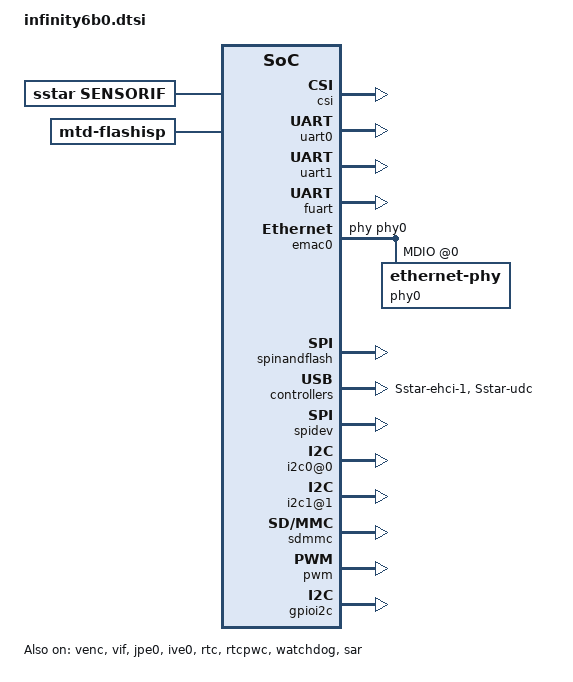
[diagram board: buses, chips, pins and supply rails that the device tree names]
/*
* infinity6b0.dtsi- Sigmastar
*
* Copyright (c) [2019~2020] SigmaStar Technology.
*
*
* This software is licensed under the terms of the GNU General Public
* License version 2, as published by the Free Software Foundation, and
* may be copied, distributed, and modified under those terms.
*
* This program is distributed in the hope that it will be useful,
* but WITHOUT ANY WARRANTY; without even the implied warranty of
* MERCHANTABILITY or FITNESS FOR A PARTICULAR PURPOSE.  See the
* GNU General Public License version 2 for more details.
*
*/

#include <../../../../drivers/sstar/include/infinity6b0/irqs.h>
#include <../../../../drivers/sstar/include/infinity6b0/gpio.h>
#include <dt-bindings/interrupt-controller/irq.h>
#include <dt-bindings/interrupt-controller/arm-gic.h>
#include "skeleton.dtsi"


/ {
    cpus {
        #address-cells = <1>;
        #size-cells = <0>;

        cpu@0 {
            device_type = "cpu";
            compatible = "arm,cortex-a7";
            clocks = <&CLK_cpupll_clk>;
            reg = <0x0>;
            operating-points = <
                /* kHz     uV */
                1200000  1000000
                1100000  1000000
                1000000  1000000
                800000   900000
                600000   900000
                400000   900000
            >;
        };
    };

    aliases {
        console = &uart0;
        serial0 = &uart0;
        serial1 = &uart1;
        serial2 = &fuart;
    };

    soc {
        compatible = "simple-bus";
        interrupt-parent = <&ms_main_intc>;
        #address-cells = <1>;
        #size-cells = <1>;
        ranges;

        gic: gic@16000000 {
            compatible = "arm,cortex-a7-gic";
            #interrupt-cells = <3>;
            #address-cells = <1>;
            #size-cells = <1>;
            interrupt-controller;
            interrupt-parent = <&gic>;
            reg = <0x16001000 0x1000>,
                  <0x16002000 0x1000>;
        };

        ms_main_intc: ms_main_intc {
            compatible = "sstar,main-intc";
            #interrupt-cells = <3>;
            #address-cells = <1>;
            #size-cells = <1>;
            interrupt-parent=<&gic>;
            interrupt-controller;
        };

        ms_pm_intc: ms_pm_intc {
            compatible = "sstar,pm-intc";
            #interrupt-cells = <1>;
            interrupt-parent=<&ms_main_intc>;
            interrupt-controller;
            interrupts = <GIC_SPI INT_IRQ_PM_SLEEP IRQ_TYPE_LEVEL_HIGH>;
        };

        ms_gpi_intc: ms_gpi_intc {
            compatible = "sstar,gpi-intc";
            #interrupt-cells = <1>;
            interrupt-parent=<&ms_main_intc>;
            interrupt-controller;
            interrupts = <GIC_SPI INT_IRQ_GPI_OUT IRQ_TYPE_LEVEL_HIGH>;
        };

        arch_timer {
            compatible = "arm,cortex-a7-timer", "arm,armv7-timer";
            interrupt-parent=<&gic>;
            interrupts = <GIC_PPI 13 (GIC_CPU_MASK_SIMPLE(2) | IRQ_TYPE_LEVEL_LOW)>,
                         <GIC_PPI 14 (GIC_CPU_MASK_SIMPLE(2) | IRQ_TYPE_LEVEL_LOW)>,
                         <GIC_PPI 11 (GIC_CPU_MASK_SIMPLE(2) | IRQ_TYPE_LEVEL_LOW)>,
                         <GIC_PPI 10 (GIC_CPU_MASK_SIMPLE(2) | IRQ_TYPE_LEVEL_LOW)>;
            clock-frequency = <6000000>;
        };

        pmu {
            compatible = "arm,cortex-a7-pmu";
            interrupt-parent=<&gic>;
            interrupts = <GIC_SPI 10 IRQ_TYPE_LEVEL_HIGH>,
                         <GIC_SPI 16 IRQ_TYPE_LEVEL_HIGH>,
                         <GIC_SPI 22 IRQ_TYPE_LEVEL_HIGH>,
                         <GIC_SPI 28 IRQ_TYPE_LEVEL_HIGH>;
        };

        clks: clocks{
            #address-cells = <1>;
            #size-cells = <1>;
            ranges;
        };
/*
        timer_clockevent: timer@1F006040 {
            compatible = "sstar,piu-clockevent";
            reg = <0x1F006040 0x100>;
            interrupts=<GIC_SPI INT_FIQ_TIMER_0 IRQ_TYPE_LEVEL_HIGH>;
            clocks = <&CLK_xtali_12m>;
            status = "ok";
        };
*/
#ifndef __DTS_DUALOS__
        venc {
            compatible = "sstar,venc";
            reg = <0x1F345200 0x800>, <0x1F2C5200 0x100>, <0x1F203C00 0x100>, <0x1F207800 0x100>;
            reg-names = "vpu-bit", "venc-brige", "hw-uart0", "hw-uart1";
            interrupts = <GIC_SPI INT_IRQ_MHE IRQ_TYPE_LEVEL_HIGH>;
            interrupt-parent = <&ms_main_intc>;
            interrupt-names = "mhe-irq";
            clocks = <&CLK_vhe>, <&CLK_vhe_vpu>;
            clock-names = "CKG_venc";
            status = "ok";
        };

        vpe: vpe {
            compatible = "sigmastar,vpe";
            //reg = <0x1F000000 0x100>;
            //clk,chiptop,hvsp0,sc0,dnr,ldc
            clocks = <&CLK_fclk1>,<&CLK_fclk2>,<&CLK_odclk>;
            clock-names = "CLK_fclk1","CLK_fclk2","CLK_odclk";
            status = "ok";
            DigitalZoom-Dropmode = <1>;
            interrupts = <GIC_SPI INT_IRQ_SC_TOP IRQ_TYPE_LEVEL_HIGH>, <GIC_SPI INT_IRQ_SC1_TOP_INT IRQ_TYPE_LEVEL_HIGH>, <GIC_SPI INT_IRQ_SC2_TOP_INT IRQ_TYPE_LEVEL_HIGH>, <GIC_SPI INT_IRQ_CMDQ IRQ_TYPE_LEVEL_HIGH>;
        };

        vip: vip {
            compatible = "sstar,vip";
            status = "ok";
            CMDQ-mode = <1>;
            //reg = <0x1F224000 0x200>;
        };

        pnl: pnl {
            compatible = "sigmastar,pnl";
            status = "ok";
            ttl-mode = <1>;
            jtag-mode = <0>;
            //Reg = <0x1F224000 0x200>;
        };

        disp: disp {
            compatible = "sigmastar,disp";
            status = "ok";
            //Reg = <0x1F224000 0x200>;
            interrupts = <GIC_SPI INT_IRQ_SC_TOP IRQ_TYPE_LEVEL_HIGH>, <GIC_SPI INT_IRQ_SC1_TOP_INT IRQ_TYPE_LEVEL_HIGH>, <GIC_SPI INT_IRQ_SC2_TOP_INT IRQ_TYPE_LEVEL_HIGH>, <GIC_SPI INT_IRQ_CMDQ IRQ_TYPE_LEVEL_HIGH>;
        };
        isp: isp {
            compatible = "isp";
            io_phy_addr = <0x1f000000>;
            banks = <0x1302>;
            interrupts = <GIC_SPI INT_IRQ_ISP IRQ_TYPE_LEVEL_HIGH>;
            clocks = <&CLK_isp>;
            status = "ok";
            clock-frequency-index = <5>;
            //clk-pad = <PAD_SR_IO17>;
            //clk-pad = <PAD_SPI0_CK>; //be compatible with the previous QFN, so it must reserved 4 pins for SPI0 pads
            //isp-flag = <0>;
        };
        csi: csi {
            compatible = "sstar,csi";
            io_phy_addr = <0x1f000000>;
            banks = <0x1202>,<0x1203>,<0x1204>,<0x1038>,<0x101e>;
            interrupts = <GIC_SPI INT_IRQ_MIPI_CSI2 IRQ_TYPE_LEVEL_HIGH>;
            status = "ok";
        };

        vif: vif {
            compatible = "sstar,vif";
            status = "ok";
            reg = <0x1F260800 0x600>, <0x0 0x0>, <0x0 0x0>, <0x0 0x0>, <0x0 0x0>, <0x0 0x0>, <0x1F207800 0x200>, <0x1F226600 0x200>, <0x1F207000 0x200>, <0x1F000000 0x400000>, <0x1F203C00 0x200>;
            clocks = <&CLK_sr_mclk>;
            interrupts = <GIC_SPI INT_IRQ_VIF IRQ_TYPE_LEVEL_HIGH>,<GIC_SPI INT_IRQ_ISP IRQ_TYPE_LEVEL_HIGH>;
        };

        ispalgo: ispalgo {
            compatible = "sstar,ispalgo";
            status = "ok";
        };

        ispmid: ispmid {
            compatible = "sstar,ispmid";
            status = "ok";
        };

        sensorif: sensorif {
            compatible = "sstar,sensorif";
            status = "ok";
            sensorif_grp0_i2c = <1>;
        };

        jpe0: jpe@0x1F2C4000 {
            compatible = "sstar,cedric-jpe";
            reg = <0x1F2C4000 0x100>;
            interrupts = <GIC_SPI INT_IRQ_JPE IRQ_TYPE_LEVEL_HIGH>;
            clocks = <&CLK_jpe>;
            clock-names = "CKG_jpe";
            clk-select = <0>; // 0: 288MHz  1: 216MHz  2: 54MHz  3: 27MHz
            status = "ok";
        };

        ive0: ive@0x1F2A4000 {
            compatible = "sstar,infinity-ive";
            reg = <0x1F2A4000 0x100>,<0x1F2A4200 0x100>;
            interrupts = <GIC_SPI INT_IRQ_IVE_INT IRQ_TYPE_LEVEL_HIGH>;
            clocks = <&CLK_miu_ive>;
            status = "ok";
        };

        gop{
            compatible = "sigmastar,gop";
            clocks = <&CLK_gop0>,<&CLK_fclk1>,<&CLK_dip>;
            status = "ok";
        };

        gop1{
            compatible = "sstar,infinity-gop1";
            clocks = <&CLK_gop1>,<&CLK_fclk1>;
            status = "ok";
        };

        gop2{
            compatible = "sstar,infinity-gop2";
            clocks = <&CLK_gop2>,<&CLK_fclk2>;
            status = "ok";
        };

        cmdq0 {
            compatible = "sstar,cmdq0";
            clocks = <&CLK_mcu>; //for timeout tick
            interrupts=<GIC_SPI INT_IRQ_CMDQ IRQ_TYPE_LEVEL_HIGH>;
            status = "ok";
        };

        cmdq1 {
            compatible = "sstar,cmdq1";
            clocks = <&CLK_mcu>; //for timeout tick
            interrupts=<GIC_SPI INT_IRQ_CMDQ IRQ_TYPE_LEVEL_HIGH>;
            status = "ok";
        };

        cmdq2 {
            compatible = "sstar,cmdq2";
            clocks = <&CLK_mcu>; //for timeout tick
            interrupts=<GIC_SPI INT_IRQ_CMDQ IRQ_TYPE_LEVEL_HIGH>;
            status = "ok";
        };

        cmdq3 {
            compatible = "sstar,cmdq3";
            clocks = <&CLK_mcu>; //for timeout tick
            interrupts=<GIC_SPI INT_IRQ_CMDQ IRQ_TYPE_LEVEL_HIGH>;
            status = "ok";
        };


        dip {
            compatible = "sstar,dip";
            clocks = <&CLK_dip>;
            interrupts=<GIC_SPI INT_IRQ_DIP0 IRQ_TYPE_LEVEL_HIGH>;
            status = "ok";
        };
#endif
        uart0: uart0@1F221000 {
            compatible = "sstar,uart";
            reg = <0x1F221000 0x100>;
            interrupts = <GIC_SPI INT_IRQ_UART_0 IRQ_TYPE_LEVEL_HIGH>;
            clocks = <&CLK_uart0>;
            status = "ok";
        };
        uart1: uart1@1F221200 {
            compatible = "sstar,uart";
            reg = <0x1F221200 0x100>;
            interrupts = <GIC_SPI INT_IRQ_UART_1 IRQ_TYPE_LEVEL_HIGH>;
            clocks = <&CLK_uart1>;
            pad = <PAD_UART1_TX>;
            //pad = <PAD_FUART_RTS>;
            //pad = <PAD_GPIO6>;
            status = "ok";
        };
        fuart: uart2@1F220400 {
            compatible = "sstar,uart";
            reg = <0x1F220400 0x100>, <0x1F220600 0x100>;
            interrupts = <GIC_SPI INT_IRQ_FUART IRQ_TYPE_LEVEL_HIGH>, <GIC_SPI INT_IRQ_URDMA IRQ_TYPE_LEVEL_HIGH>;
            clocks = <&CLK_fuart>;
            dma = <1>;
            pad = <PAD_UART0_TX>;
            //pad = <PAD_FUART_TX>;
            //pad = <PAD_GPIO4>;
            status = "ok";
        };

        emac0: emac0 {
            compatible = "sstar-emac";
            interrupts = <GIC_SPI INT_IRQ_EMAC IRQ_TYPE_LEVEL_HIGH>, <GIC_SPI INT_FIQ_LAN_ESD IRQ_TYPE_LEVEL_HIGH>;
            clocks = <&CLK_emac_ahb>,<&CLK_emac_tx>,<&CLK_emac_rx>; //for MII & RMII
            reg = <0x1F2A2000 0x800>, <0x1F343C00 0x600>, <0x1F006200 0x600>; //for MII
            //reg = <0x1F2A2000 0x800>, <0x1F343C00 0x600>, <0 0>; // for RMII
			pad = <0x1F203DD4 0x0100 0x0100>;
            phy-handle = <&phy0>;
            status = "ok";
            mdio-bus {
                phy0: ethernet-phy@0 {
                    phy-mode = "mii"; //for MII
                    //phy-mode = "rmii";//for RMII
                };
            };
        };

        flashisp {
            compatible = "mtd-flashisp";
            clocks = <&CLK_bdma>;
            quadread = <0>;
            status = "ok";
        };
/*
        nandflash {
            compatible = "ms-nand";
            clocks = <&CLK_VOID>;
            interrupts =  <GIC_SPI INT_IRQ_FCIE IRQ_TYPE_LEVEL_HIGH>;
            status = "ok";
        };

		emmc {
            compatible = "sstar_mci";
            clocks = <&CLK_VOID>;
            interrupts =  <GIC_SPI INT_IRQ_FCIE IRQ_TYPE_LEVEL_HIGH>;
            status = "ok";
        };
*/
        spinandflash {
            compatible = "ms-spinand";
            clocks =<&CLK_bdma>;
            status = "ok";
        };

        Sstar-ehci-1 {
            compatible = "Sstar-ehci-1";
            clocks = <&CLK_utmi>;
            interrupts = <GIC_SPI INT_IRQ_UHC IRQ_TYPE_LEVEL_HIGH>;
            status = "ok";
        };

        Sstar-udc {
            compatible = "sstar,infinity-udc";
            interrupts = <GIC_SPI INT_IRQ_OTG IRQ_TYPE_LEVEL_HIGH>;
            status = "ok";
        };

        spi: spi {
            compatible = "sstar_spi";
            io_phy_addr = <0x1f000000>;
            banks = <0x1110>,<0x1111>,<0x1038>,<0x101E>;
            interrupts = <GIC_SPI INT_IRQ_MSPI_0 IRQ_TYPE_LEVEL_HIGH>,<GIC_SPI INT_IRQ_MSPI_1 IRQ_TYPE_LEVEL_HIGH>;
            spi0_mode = <1>;
            spi1_mode = <1>;
            status = "disabled";
        };

        spidev: spidev {
            compatible = "spidev";
        };

        i2c0@0{
            compatible = "sstar,i2c";
            reg = <0x1F223000 0x200>,<0x1F203c00 0x200>,<0x1F207000 0x200>;
                #address-cells = <1>;
                #size-cells = <0>;
            clocks = <&CLK_miic0>;
            i2c-group = <0>;
            status = "ok";
            /*
             * padmux: 1 -> PAD_I2C0_SCL, PAD_I2C0_SDA
             *         2 -> PAD_PWM0, PAD_PWM1
             *         3 -> PAD_SR_IO00, PAD_SR_IO01
            */
            i2c-padmux = <1>;
        };

        i2c1@1{
            compatible = "sstar,i2c";
            reg = <0x1F223200 0x200>,<0x1F203c00 0x200>,<0x1F207000 0x200>;
                #address-cells = <1>;
                #size-cells = <0>;
            clocks = <&CLK_miic1>;
            i2c-group = <1>;
            /*
             * padmux: 1 -> PAD_I2C1_SCL, PAD_I2C1_SDA
             *         2 -> PAD_PWM0, PAD_PWM1
             *         3 -> PAD_SR_IO00, PAD_SR_IO01
            */
            i2c-padmux = <1>;
            status = "ok";
//            24c512@54 {
//                compatible = "sstar,24c512";
//                reg = <0x54>;
//            };
        };


        gpio:gpio{
            compatible = "sstar,gpio";
        };

        sound {
            compatible = "sstar,audio";
//            reg = <0x1F000000 0x1000000>;
            interrupts=<GIC_SPI INT_IRQ_BACH IRQ_TYPE_LEVEL_HIGH>;
            playback-volume-level=<64>;    //0~94
            capture-volume-level=<64>;
           // micin-pregain-level=<1>;    //0~3
            micin-pregain-level=<0>;    //0~3
            micin-gain-level=<3>;    //0~7
            linein-gain-level=<2>;  //0~7
            amp-gpio = <PAD_FUART_TX  1>; // QFN88: PAD_FUART_TX  QFN128: PAD_PM_GPIO0 
            clocks = <&CLK_upll_384m>;

            /*
            0: OFF
            1: PAD_GPIO4 ~ PAD_GPIO6 (QFN128)
            2: PAD_SD1_IO4 ~ PAD_SD1_IO6
            3: PAD_SD1_IO8, PAD_UART0_RX, PAD_UART0_TX
            */
            digmic-padmux = <1>;

            /*
            0: OFF
            1: PAD_GPIO0 ~ PAD_GPIO3 (QFN128)
            2: PAD_SD1_IO0 ~ PAD_SD1_IO3
            3: PAD_SPI1_CZ, PAD_SPI1_CK, PAD_SPI1_DI, PAD_SPI1_DO
            */
            i2s-padmux = <1>;

            keep-i2s-clk = <0>;
            status = "ok";
        };

        sdmmc {
            compatible = "sstar,sdmmc";

            slotnum = <1>;
            revcdz = <0>;

            slot-ip-orders = <0>,<1>,<2>;
            slot-pad-orders = <0>,<1>,<2>;
            slot-max-clks = <48000000>,<48000000>,<48000000>;
            slot-intcdzs = <1>,<1>,<1>;
            slot-fakecdzs = <0>,<0>,<0>;
            slot-cdzs-gpios = <PAD_PM_SD_CDZ>,<PAD_SD1_IO6>,<0>;
            slot-pwr-gpios = <PAD_FUART_RTS>,<PAD_PM_GPIO9>,<0>;
            slot-pwr-off-delay = <30>,<30>,<30>;
            slot-sdio-use = <0>,<0>,<0>;

            interrupts-extended = <&ms_main_intc GIC_SPI INT_IRQ_FCIE IRQ_TYPE_LEVEL_HIGH>,//was INT_IRQ_SDIO
                                 <&ms_main_intc GIC_SPI INT_IRQ_SDIO IRQ_TYPE_LEVEL_HIGH>,
                                 <&ms_main_intc GIC_SPI INT_FIQ_SD_CDZ IRQ_TYPE_LEVEL_HIGH>,
                                 <&ms_gpi_intc 42>,
                                 <&ms_main_intc GIC_SPI INT_FIQ_SD_CDZ IRQ_TYPE_LEVEL_HIGH>;
            interrupt-names = "mie0_irq", "mie1_irq", "cdz_slot0_irq", "cdz_slot1_irq", "cdz_slot2_irq";
            clocks = <&CLK_sd>,<&CLK_sdio>,<&CLK_VOID>,
                     <&CLK_sd>,<&CLK_sdio>,<&CLK_VOID>,
                     <&CLK_sd>,<&CLK_sdio>,<&CLK_VOID>;
            status = "ok";
        };

        aesdma {
            compatible = "sstar,infinity-aes";
            clocks = <&CLK_aesdma>;
            status = "ok";
        };

        bdma0 {
            compatible = "sstar,bdma0";
            interrupts=<GIC_SPI INT_IRQ_BDMA_0 IRQ_TYPE_LEVEL_HIGH>;
            clocks = <&CLK_bdma>,<&CLK_miu_bdma>;
            status = "disabled";
        };

        bdma1 {
            compatible = "sstar,bdma1";
            interrupts=<GIC_SPI INT_IRQ_BDMA_1 IRQ_TYPE_LEVEL_HIGH>;
            clocks = <&CLK_bdma>,<&CLK_miu_bdma>;
            status = "disabled";
        };

        bdma2 {
            compatible = "sstar,bdma2";
            interrupts=<GIC_SPI INT_IRQ_BDMA_2 IRQ_TYPE_LEVEL_HIGH>;
            clocks = <&CLK_bdma>,<&CLK_miu_bdma>;
            status = "disabled";
        };

        bdma3 {
            compatible = "sstar,bdma3";
            interrupts=<GIC_SPI INT_IRQ_BDMA_3 IRQ_TYPE_LEVEL_HIGH>;
            clocks = <&CLK_bdma>,<&CLK_miu_bdma>;
            status = "disabled";
        };

        movdma {
            compatible = "sstar,movdma";
            interrupts=<GIC_SPI INT_IRQ_MOVEDMA IRQ_TYPE_LEVEL_HIGH>;
            clocks = <&CLK_miu>;
            status = "disabled";
        };

        rtc {
            compatible = "sstar,infinity-rtc";
            reg = <0x1F002400 0x40>;
            interrupts=<GIC_SPI INT_IRQ_RTC IRQ_TYPE_LEVEL_HIGH>;
            clocks = <&CLK_rtc>;
            status = "ok";
        };

        rtcpwc {
            compatible = "sstar,infinity-rtcpwc";
            reg = <0x1F006800 0x200>;
            interrupts=<GIC_SPI INT_IRQ_RTC IRQ_TYPE_LEVEL_HIGH>; //need to check
            clocks = <&CLK_rtc>;
#if 0
                tm_sec; /* - 跋丁[0, 59]*/  
                tm_min; /*だ - 跋丁[0, 59]*/  
                tm_hour; /* - 跋丁[0, 23]*/  
                tm_mday; /*ら - 跋丁[1, 31]*/  
                tm_mon; /*る - 跋丁[0, 11]*/  
                tm_year; /* - ㄤ1900さ计*/  
                tm_wday; /*琍戳 - 跋丁[0, 6]0琍戳ぱ1琍戳1摸崩*/  
                tm_yday; /*眖–1る1ら秨﹍ぱ计-跋丁[0, 365]01る1ら*/  
            default_date = <0 0 0 5 10 83 6 0>;
#endif
            status = "ok";
        };

        cpufreq {
            compatible = "sstar,infinity-cpufreq";
            status = "ok";
        };

        watchdog: watchdog {
            compatible = "sstar,infinity-wdt";
            reg = <0x1F006000 0x40>;
            status = "ok";
        };

        sar: sar {
            compatible = "sstar,infinity-sar";
            reg = <0x1F002800 0x200>;
            status = "ok";
        };

        ircut {
            compatible = "sstar,infinity-ircut";
            ircut-gpio-num = <PAD_PM_IRIN>;///PM_GPIO_IRIN
            interrupt-parent = <&ms_pm_intc>;
            interrupts = <INT_PMSLEEP_IRIN>;
            status = "ok";
        };

        pwm {
            compatible = "sstar,infinity-pwm";
            reg = <0x1F003400 0x600>;
            interrupts = <GIC_SPI INT_IRQ_PWM_INT_ALL IRQ_TYPE_LEVEL_HIGH>;
            clocks = <&CLK_xtali_12m>;
            npwm = <11>;
            pad-ctrl = <PAD_PWM0 PAD_PWM1 PAD_UNKNOWN PAD_UNKNOWN PAD_UNKNOWN PAD_UNKNOWN PAD_UNKNOWN PAD_UNKNOWN PAD_UNKNOWN PAD_UNKNOWN PAD_UNKNOWN>;
            status = "ok";
        };

        gpioi2c {
            compatible = "sstar,infinity-gpioi2c";
            sda-gpio = <PAD_GPIO8>;
            scl-gpio = <PAD_GPIO9>;
            status = "ok";
        };

        miu {
            compatible = "sstar,miu";
            interrupts=<GIC_SPI INT_IRQ_MIU IRQ_TYPE_LEVEL_HIGH>;
            status = "ok";
        };

    };
};

&clks {
    #include <../../../../drivers/sstar/include/infinity6b0/reg_clks.h>
#ifndef __DTS_DUALOS__
	#include "infinity6b0-clks.dtsi"
#else
	#include "infinity6b0-clks_simple.dtsi"
#endif

};

